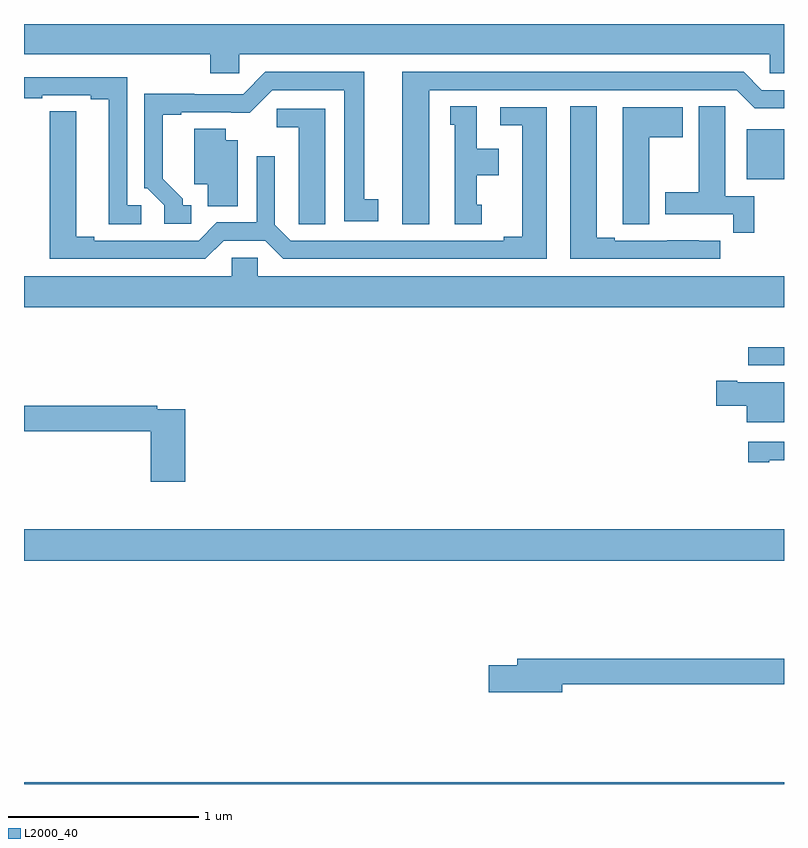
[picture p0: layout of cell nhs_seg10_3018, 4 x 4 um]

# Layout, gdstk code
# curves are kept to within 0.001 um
import gdstk
lib = gdstk.Library(unit=1e-6, precision=1e-09)
def R(c, l, rs):  # rectangles x0, y0, x1, y1
    for r in rs: c.add(gdstk.rectangle(r[:2], r[2:], *l))
def P(c, l, *ps):  # polygons
    for p in ps: c.add(gdstk.Polygon(p, *l))
L2000_40 = (2000, 40)

nhs_seg10_3018 = lib.new_cell('nhs_seg10_3018')
R(nhs_seg10_3018, L2000_40, [(275,1272.5,279,1272.508), (275,1273.676,279,1273.84), (278.811,1274.703,279,1274.799), (278.804,1275.683,279,1275.946)])
P(nhs_seg10_3018, L2000_40, [(276.132,1276.34),(278.925,1276.34),(278.925,1276.242),(279,1276.242),(279,1276.5),(275,1276.5),(275,1276.34),(275.981,1276.34),(275.981,1276.242),(276.132,1276.242)],
  [(275.881,1275.546),(275.836,1275.546),(275.836,1275.581),(275.731,1275.686),(275.731,1276.023),(275.827,1276.023),(275.827,1276.035),(276.188,1276.034),(276.306,1276.152),(276.686,1276.152),(276.686,1275.462),(276.865,1275.462),(276.865,1275.578),(276.79,1275.578),(276.79,1276.248),(276.27,1276.248),(276.153,1276.131),(275.897,1276.131),(275.897,1276.133),(275.634,1276.133),(275.634,1275.636),(275.649,1275.636),(275.739,1275.546),(275.739,1275.45),(275.881,1275.45)],
  [(277.132,1276.152),(278.751,1276.152),(278.847,1276.056),(279,1276.056),(279,1276.152),(278.883,1276.152),(278.787,1276.248),(276.992,1276.248),(276.992,1275.447),(277.132,1275.447)],
  [(275.617,1275.546),(275.544,1275.546),(275.544,1276.221),(275,1276.221),(275,1276.11),(275.095,1276.11),(275.095,1276.125),(275.351,1276.125),(275.351,1276.105),(275.447,1276.105),(275.447,1275.445),(275.617,1275.445)],
  [(278.665,1275.36),(278.552,1275.36),(278.552,1275.361),(278.386,1275.361),(278.386,1275.36),(278.11,1275.36),(278.11,1275.375),(278.014,1275.375),(278.014,1276.067),(277.874,1276.067),(277.874,1275.264),(278.665,1275.264)],
  [(277.408,1275.549),(277.384,1275.549),(277.384,1275.704),(277.498,1275.704),(277.498,1275.844),(277.384,1275.844),(277.384,1276.067),(277.244,1276.067),(277.244,1275.969),(277.268,1275.969),(277.268,1275.447),(277.408,1275.447)],
  [(278.843,1275.594),(278.692,1275.594),(278.692,1275.956),(278.691,1275.956),(278.691,1276.067),(278.552,1276.067),(278.552,1275.615),(278.375,1275.615),(278.375,1275.498),(278.734,1275.498),(278.734,1275.402),(278.843,1275.402)],
  [(278.29,1275.904),(278.467,1275.904),(278.467,1276.063),(278.15,1276.063),(278.15,1275.553),(278.151,1275.553),(278.151,1275.445),(278.29,1275.445)],
  [(276.051,1275.36),(276.269,1275.36),(276.365,1275.264),(277.75,1275.264),(277.75,1276.062),(277.506,1276.062),(277.506,1275.966),(277.622,1275.966),(277.622,1275.38),(277.526,1275.38),(277.526,1275.36),(276.405,1275.36),(276.321,1275.444),(276.321,1275.805),(276.225,1275.805),(276.225,1275.456),(276.015,1275.456),(275.919,1275.36),(275.371,1275.36),(275.371,1275.38),(275.275,1275.38),(275.275,1276.04),(275.136,1276.04),(275.135,1275.264),(275.955,1275.264)],
  [(276.586,1276.053),(276.33,1276.053),(276.33,1275.956),(276.446,1275.956),(276.446,1275.553),(276.447,1275.553),(276.447,1275.445),(276.586,1275.445)],
  [(276.124,1275.889),(276.061,1275.889),(276.061,1275.95),(275.897,1275.95),(275.897,1275.656),(275.966,1275.656),(275.966,1275.541),(276.124,1275.541)],
  [(279,1275.172),(276.231,1275.172),(276.231,1275.27),(276.093,1275.27),(276.093,1275.172),(275,1275.172),(275,1275.008),(279,1275.008)],
  [(279,1274.614),(278.755,1274.614),(278.755,1274.622),(278.643,1274.622),(278.643,1274.492),(278.804,1274.492),(278.804,1274.405),(279,1274.405)],
  [(275.849,1274.472),(275.702,1274.472),(275.702,1274.492),(275,1274.492),(275,1274.356),(275.666,1274.356),(275.666,1274.091),(275.849,1274.091)],
  [(278.923,1274.205),(279,1274.205),(279,1274.301),(278.811,1274.301),(278.811,1274.193),(278.923,1274.193)],
  [(277.834,1273.024),(279,1273.024),(279,1273.16),(277.595,1273.16),(277.595,1273.124),(277.446,1273.124),(277.446,1272.982),(277.834,1272.982)])

lib.write_gds('nhs_seg10_3018.gds')
